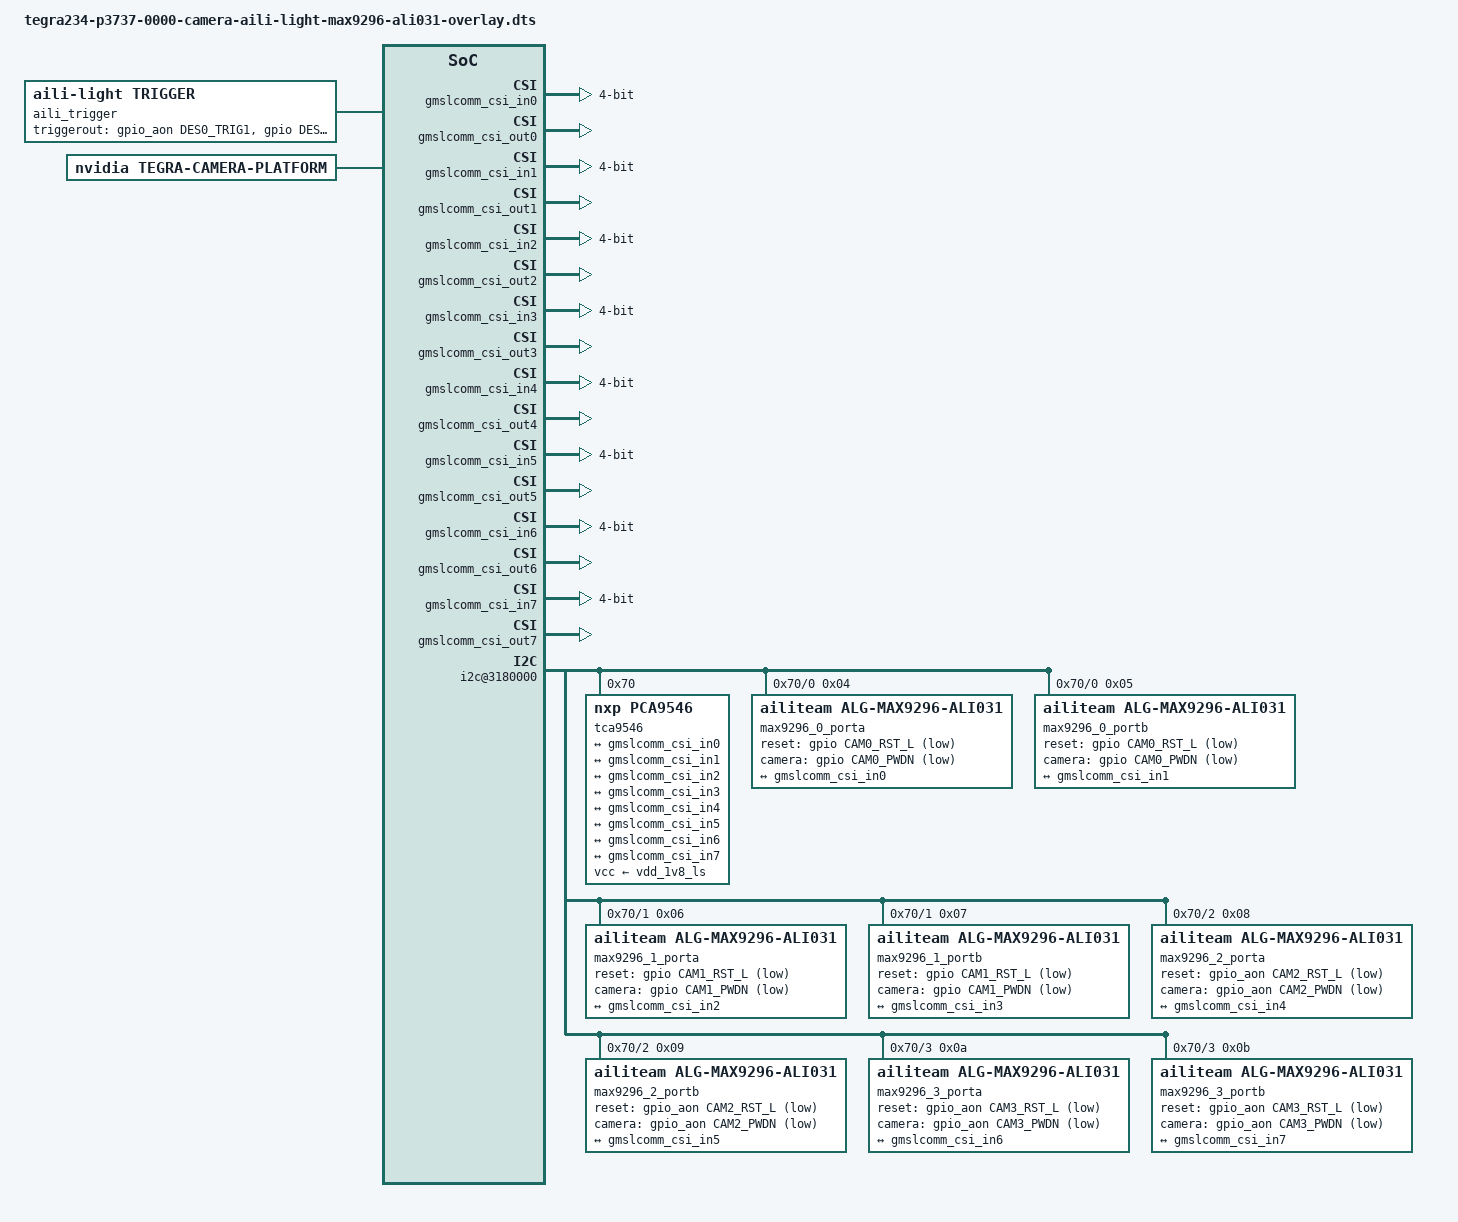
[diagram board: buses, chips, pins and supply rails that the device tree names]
// SPDX-License-Identifier: GPL-2.0-only
// SPDX-FileCopyrightText: Copyright (c) 2018-2023, NVIDIA CORPORATION & AFFILIATES. All rights reserved.

/dts-v1/;
/plugin/;


// #include <dt-bindings/clock/tegra234-clock.h>
#include <dt-bindings/gpio/tegra234-gpio.h>
#include <dt-bindings/tegra234-p3737-0000+p3701-0000.h>
#include <dt-bindings/pinctrl/pinctrl-tegra.h>

#define CAMERA_I2C_MUX_BUS(x) (0x1E + x)

#define CAM0_RST_L	TEGRA234_MAIN_GPIO(H, 3)
#define CAM0_PWDN	TEGRA234_MAIN_GPIO(H, 6)
#define CAM1_RST_L	TEGRA234_MAIN_GPIO(AC, 1)
#define CAM1_PWDN	TEGRA234_MAIN_GPIO(AC, 0)

#define CAM2_RST_L	TEGRA234_AON_GPIO(CC, 2)
#define CAM2_PWDN	TEGRA234_AON_GPIO(CC, 0)
#define CAM3_RST_L	TEGRA234_AON_GPIO(CC, 3)
#define CAM3_PWDN	TEGRA234_AON_GPIO(CC, 1)


#define TRIG_EXTERN		TEGRA234_MAIN_GPIO(AC, 7)
#define DES0_TRIG1		TEGRA234_AON_GPIO(BB, 2)
#define DES0_TRIG2		TEGRA234_MAIN_GPIO(AC, 3)
#define DES1_TRIG1		TEGRA234_AON_GPIO(AA, 7)
#define DES1_TRIG2		TEGRA234_MAIN_GPIO(H, 1)
#define DES2_TRIG1		TEGRA234_AON_GPIO(AA, 4)
#define DES2_TRIG2		TEGRA234_MAIN_GPIO(AC, 4)
#define DES3_TRIG1		TEGRA234_MAIN_GPIO(AC, 2)
#define DES3_TRIG2		TEGRA234_MAIN_GPIO(H, 5)

#define PPS_IN			TEGRA234_AON_GPIO(BB, 0)


/* camera control gpio definitions */
/ {
	overlay-name = "AGX ORIN Aili-Light MAX9296A ALI031 Device Tree Overlay V01.00.00";
	jetson-header-name = "Jetson AGX CSI Connector";
	compatible = JETSON_COMPATIBLE;
	
	fragment@0 {
		target-path = "/";
		
		__overlay__ {
			tegra-capture-vi {
				status = "okay";
				num-channels = <8>;
				ports {
					status = "okay";
					port@0 {
						reg = <0>;
						status = "okay";
						gmslcomm_vi_in0: endpoint  {
							status = "okay";
							vc-id = <1>;
							port-index = <0>;
							bus-width = <4>;
							remote-endpoint = <&gmslcomm_csi_out0>;
						};
					};
					port@1 {
						reg = <1>;
						status = "okay";
						gmslcomm_vi_in1: endpoint {
							status = "okay";
							vc-id = <0>;
							port-index = <0>;
							bus-width = <4>;
							remote-endpoint = <&gmslcomm_csi_out1>;
						};
					};
					port@2 {
						reg = <2>;
						status = "okay";
						gmslcomm_vi_in2: endpoint  {
							status = "okay";
							vc-id = <1>;
							port-index = <2>;
							bus-width = <4>;
							remote-endpoint = <&gmslcomm_csi_out2>;
						};
					};
					port@3 {
						reg = <3>;
						status = "okay";
						gmslcomm_vi_in3: endpoint {
							status = "okay";
							vc-id = <0>;
							port-index = <2>;
							bus-width = <4>;
							remote-endpoint = <&gmslcomm_csi_out3>;
						};
					};
					port@4 {
						reg = <4>;
						status = "okay";
						gmslcomm_vi_in4: endpoint  {
							status = "okay";
							vc-id = <1>;
							port-index = <4>;
							bus-width = <4>;
							remote-endpoint = <&gmslcomm_csi_out4>;
						};
					};
					port@5 {
						reg = <5>;
						status = "okay";
						gmslcomm_vi_in5: endpoint {
							status = "okay";
							vc-id = <0>;
							port-index = <4>;
							bus-width = <4>;
							remote-endpoint = <&gmslcomm_csi_out5>;
						};
					};
					port@6 {
						reg = <6>;
						status = "okay";
						gmslcomm_vi_in6: endpoint  {
							status = "okay";
							vc-id = <1>;
							port-index = <5>;
							bus-width = <4>;
							remote-endpoint = <&gmslcomm_csi_out6>;
						};
					};
					port@7 {
						reg = <7>;
						status = "okay";
						gmslcomm_vi_in7: endpoint {
							status = "okay";
							vc-id = <0>;
							port-index = <5>;
							bus-width = <4>;
							remote-endpoint = <&gmslcomm_csi_out7>;
						};
					};
				};
			};

			bus@0{

				gpio@2200000 {
					camera-control-output-low {
						output-low;
						gpios = <CAM0_RST_L 0 CAM0_PWDN 0
						CAM1_RST_L 0 CAM1_PWDN 0>;
						label = "cam0-rst", "cam0-pwdn",
						"cam1-rst", "cam1-pwdn";
					};
					trigger-extern-input{
						input;
						gpios = <TRIG_EXTERN 0 PPS_IN 0>;
						label = "trigger-extern","pps-in";
						status = "okay";
					};
					trigger-output-low {
						output-low;
						gpios = < DES0_TRIG2 0 DES1_TRIG2 0 DES2_TRIG2 0
						DES3_TRIG1 0 DES3_TRIG2 0>;
						label = "des0-trig2","des1-trig2","des2-trig2",
						"des3-trig1", "des3-trig2";
						status = "okay";
					};
				};
				gpio@c2f0000 {
					camera-control-output-low {
						output-low;
						gpios = <CAM2_RST_L 0 CAM2_PWDN 0
						CAM3_RST_L 0 CAM3_PWDN 0>;
						label = "cam2-rst", "cam2-pwdn",
						"cam3-rst", "cam3-pwdn";
					};
					trigger-output-low {
						output-low;
						gpios = <DES0_TRIG1 0 DES1_TRIG1 0  DES2_TRIG1 0>;
						label = "des0-trig1", "des1-trig1", "des2-trig1";
						status = "okay";
					};
				};

				aili_trigger: aili_trigger {
					compatible = "aili-light,trigger";

					triggerout-gpios = <&gpio_aon   DES0_TRIG1 GPIO_ACTIVE_HIGH>,
									<&gpio  		DES0_TRIG2 GPIO_ACTIVE_HIGH>,
									<&gpio_aon   	DES1_TRIG1 GPIO_ACTIVE_HIGH>,
									<&gpio  		DES1_TRIG2 GPIO_ACTIVE_HIGH>,
									<&gpio_aon   	DES2_TRIG1 GPIO_ACTIVE_HIGH>,
									<&gpio  		DES2_TRIG2 GPIO_ACTIVE_HIGH>,
									<&gpio  		DES3_TRIG1 GPIO_ACTIVE_HIGH>,
									<&gpio  		DES3_TRIG2 GPIO_ACTIVE_HIGH>;
					period-ns = <33333333>;
					pluse-width-ns = <1000000>;
					status = "okay";
				};

				host1x@13e00000 {
					nvcsi@15a00000 {
						num-channels = <8>;
						channel@0 {
							status = "okay";
							reg = <0>;
							ports {
								status = "okay";
								port@0 {
									reg = <0>;
									status = "okay";
									gmslcomm_csi_in0: endpoint@0 {
										status = "okay";
										port-index = <0>;
										bus-width = <4>;
										remote-endpoint = <&gmslcomm_des_out0>;
									};
								};
								port@1 {
									reg = <1>;
									status = "okay";
									gmslcomm_csi_out0: endpoint@1 {
										status = "okay";
										remote-endpoint = <&gmslcomm_vi_in0>;
									};
								};
							};
						};
						channel@1 {
							reg = <1>;
							status = "okay";
							ports {
								status = "okay";
								port@0 {
									reg = <0>;
									status = "okay";
									gmslcomm_csi_in1: endpoint@2 {
										status = "okay";
										port-index = <0>;
										bus-width = <4>;
										remote-endpoint = <&gmslcomm_des_out1>;
									};
								};
								port@1 {
									reg = <1>;
									status = "okay";
									gmslcomm_csi_out1: endpoint@3 {
										status = "okay";
										remote-endpoint = <&gmslcomm_vi_in1>;
									};
								};
							};
						};
						channel@2 {
							reg = <2>;
							status = "okay";
							ports {
								status = "okay";
								port@0 {
									reg = <0>;
									status = "okay";
									gmslcomm_csi_in2: endpoint@4 {
										status = "okay";
										port-index = <2>;
										bus-width = <4>;
										remote-endpoint = <&gmslcomm_des_out2>;
									};
								};
								port@1 {
									reg = <1>;
									status = "okay";
									gmslcomm_csi_out2: endpoint@5 {
										status = "okay";
										remote-endpoint = <&gmslcomm_vi_in2>;
									};
								};
							};
						};
						channel@3 {
							reg = <3>;
							status = "okay";
							ports {
								status = "okay";
								port@0 {
									reg = <0>;
									status = "okay";
									gmslcomm_csi_in3: endpoint@6 {
										status = "okay";
										port-index = <2>;
										bus-width = <4>;
										remote-endpoint = <&gmslcomm_des_out3>;
									};
								};
								port@1 {
									reg = <1>;
									status = "okay";
									gmslcomm_csi_out3: endpoint@7 {
										status = "okay";
										remote-endpoint = <&gmslcomm_vi_in3>;
									};
								};
							};
						};
						channel@4 {
							reg = <4>;
							status = "okay";
							ports {
								status = "okay";
								port@0 {
									reg = <0>;
									status = "okay";
									gmslcomm_csi_in4: endpoint@8 {
										status = "okay";
										port-index = <4>;
										bus-width = <4>;
										remote-endpoint = <&gmslcomm_des_out4>;
									};
								};
								port@1 {
									reg = <1>;
									status = "okay";
									gmslcomm_csi_out4: endpoint@9 {
										status = "okay";
										remote-endpoint = <&gmslcomm_vi_in4>;
									};
								};
							};
						};
						channel@5 {
							reg = <5>;
							status = "okay";
							ports {
								status = "okay";
								port@0 {
									reg = <0>;
									status = "okay";
									gmslcomm_csi_in5: endpoint@10 {
										status = "okay";
										port-index = <4>;
										bus-width = <4>;
										remote-endpoint = <&gmslcomm_des_out5>;
									};
								};
								port@1 {
									reg = <1>;
									status = "okay";
									gmslcomm_csi_out5: endpoint@11 {
										status = "okay";
										remote-endpoint = <&gmslcomm_vi_in5>;
									};
								};
							};
						};
						channel@6 {
							reg = <6>;
							status = "okay";
							ports {
								status = "okay";
								port@0 {
									status = "okay";
									reg = <0>;
									gmslcomm_csi_in6: endpoint@12 {
										status = "okay";
										port-index = <6>;
										bus-width = <4>;
										remote-endpoint = <&gmslcomm_des_out6>;
									};
								};
								port@1 {
									status = "okay";
									reg = <1>;
									gmslcomm_csi_out6: endpoint@13 {
										status = "okay";
										remote-endpoint = <&gmslcomm_vi_in6>;
									};
								};
							};
						};
						channel@7 {
							reg = <7>;
							status = "okay";
							ports {
								status = "okay";

								port@0 {
									reg = <0>;
									status = "okay";
									gmslcomm_csi_in7: endpoint@14 {
										status = "okay";
										port-index = <6>;
										bus-width = <4>;
										remote-endpoint = <&gmslcomm_des_out7>;
									};
								};
								port@1 {
									reg = <1>;
									status = "okay";
									gmslcomm_csi_out7: endpoint@15 {
										status = "okay";
										remote-endpoint = <&gmslcomm_vi_in7>;
									};
								};
							};
						};
					};
				};

				i2c@3180000 {
					status = "okay";
					#address-cells = <1>;
					#size-cells = <0>;
					tca9546@70 {
						status = "okay";
						compatible = "nxp,pca9546";
						reg = <0x70>;
						vcc-supply = <&vdd_1v8_ls>;
						force_bus_start = <CAMERA_I2C_MUX_BUS(0)>;
						#address-cells = <1>;
						#size-cells = <0>;
						i2c-mux-idle-disconnect;
						skip_mux_detect = "yes";
						i2c@0 {
							reg = <0>;
							i2c-mux,deselect-on-exit;
							#address-cells = <1>;
							#size-cells = <0>;
							status = "okay";
							max9296_0_porta:gmslcomm_a@4 {
								compatible = "ailiteam,alg-max9296-ali031";
								status = "okay";
								reg = <0x4>;
								addr_reg = <0x48>;// i2c地址
								reset-gpios = <&gpio CAM0_RST_L GPIO_ACTIVE_LOW>;	// 复位引脚
								camera-gpios = <&gpio CAM0_PWDN GPIO_ACTIVE_LOW>;	// 电源引脚
								deser-config;
								config-index = <4>;
								mode0 {
									mclk_khz = "24000";
									num_lanes = "4";
									tegra_sinterface = "serial_e";
									vc_id = "1";
									discontinuous_clk = "no";
									dpcm_enable = "false";
									cil_settletime = "0";
									
									dynamic_pixel_bit_depth = "12";
									csi_pixel_bit_depth = "12";
									pixel_t = "yuv_uyvy16";
									active_w = "1920";
									active_h = "1536";
									readout_orientation = "0";
									line_length = "2200";
									inherent_gain = "1";
									pix_clk_hz = "74250000";
									serdes_pix_clk_hz = "300000000"; /* lan_rate * lane_num / bpp  */
									
									gain_factor = "10";
									min_gain_val = "0"; /* dB */
									max_gain_val = "300"; /* dB */
									step_gain_val = "3"; /* 0.3 */
									default_gain = "0";
									min_hdr_ratio = "1";
									max_hdr_ratio = "1";
									framerate_factor = "1000000";
									min_framerate = "30000000";
									max_framerate = "30000000";
									step_framerate = "1";
									default_framerate = "30000000";
									exposure_factor = "1000000";
									min_exp_time = "59"; /*us, 2 lines*/
									max_exp_time = "33333";
									step_exp_time = "1";
									default_exp_time = "33333";/* us */
									embedded_metadata_height = "0";
								};
								ports {
									status = "okay";
									port@0 {
										status = "okay";
										gmslcomm_des_out0: endpoint {
											status = "okay";
											vc-id = <1>;
											port-index = <0>;
											bus-width = <4>;
											remote-endpoint = <&gmslcomm_csi_in0>;
										};
									};
								};
							};
							max9296_0_portb:gmslcomm_b@5 {
								compatible = "ailiteam,alg-max9296-ali031";
								status = "okay";
								reg = <0x5>;
								addr_reg = <0x48>;// i2c地址
								reset-gpios = <&gpio CAM0_RST_L GPIO_ACTIVE_LOW>;	// 复位引脚
								camera-gpios = <&gpio CAM0_PWDN GPIO_ACTIVE_LOW>;	// 电源引脚
								mode0 {
									mclk_khz = "24000";
									num_lanes = "4";
									tegra_sinterface = "serial_e";
									vc_id = "0";
									discontinuous_clk = "no";
									dpcm_enable = "false";
									cil_settletime = "0";
									
									dynamic_pixel_bit_depth = "12";
									csi_pixel_bit_depth = "12";
									pixel_t = "yuv_uyvy16";
									active_w = "1920";
									active_h = "1536";
									readout_orientation = "0";
									line_length = "2200";
									inherent_gain = "1";
									pix_clk_hz = "74250000";
									serdes_pix_clk_hz = "300000000"; /* lan_rate * lane_num / bpp  */
									
									gain_factor = "10";
									min_gain_val = "0"; /* dB */
									max_gain_val = "300"; /* dB */
									step_gain_val = "3"; /* 0.3 */
									default_gain = "0";
									min_hdr_ratio = "1";
									max_hdr_ratio = "1";
									framerate_factor = "1000000";
									min_framerate = "30000000";
									max_framerate = "30000000";
									step_framerate = "1";
									default_framerate = "30000000";
									exposure_factor = "1000000";
									min_exp_time = "59"; /*us, 2 lines*/
									max_exp_time = "33333";
									step_exp_time = "1";
									default_exp_time = "33333";/* us */
									embedded_metadata_height = "0";
								};
								ports {
									status = "okay";
									port@0 {
										status = "okay";
										gmslcomm_des_out1: endpoint {
											status = "okay";
											vc-id = <0>;
											port-index = <0>;
											bus-width = <4>;
											remote-endpoint = <&gmslcomm_csi_in1>;
										};
									};
								};
							};
						};
						i2c@1 {
							reg = <1>;
							i2c-mux,deselect-on-exit;
							#address-cells = <1>;
							#size-cells = <0>;
							status = "okay";
							max9296_1_porta:gmslcomm_a@6 {
								compatible = "ailiteam,alg-max9296-ali031";
								status = "okay";
								reg = <0x6>;
								addr_reg = <0x48>;// i2c地址
								reset-gpios = <&gpio CAM1_RST_L GPIO_ACTIVE_LOW>;	// 复位引脚
								camera-gpios = <&gpio CAM1_PWDN GPIO_ACTIVE_LOW>;	// 电源引脚
								deser-config;
								config-index = <3>;
								mode0 {
									mclk_khz = "24000";
									num_lanes = "4";
									tegra_sinterface = "serial_e";
									vc_id = "1";
									discontinuous_clk = "no";
									dpcm_enable = "false";
									cil_settletime = "0";
									
									dynamic_pixel_bit_depth = "12";
									csi_pixel_bit_depth = "12";
									pixel_t = "yuv_uyvy16";
									active_w = "1920";
									active_h = "1536";
									readout_orientation = "0";
									line_length = "2200";
									inherent_gain = "1";
									pix_clk_hz = "74250000";
									serdes_pix_clk_hz = "300000000"; /* lan_rate * lane_num / bpp  */
									
									gain_factor = "10";
									min_gain_val = "0"; /* dB */
									max_gain_val = "300"; /* dB */
									step_gain_val = "3"; /* 0.3 */
									default_gain = "0";
									min_hdr_ratio = "1";
									max_hdr_ratio = "1";
									framerate_factor = "1000000";
									min_framerate = "30000000";
									max_framerate = "30000000";
									step_framerate = "1";
									default_framerate = "30000000";
									exposure_factor = "1000000";
									min_exp_time = "59"; /*us, 2 lines*/
									max_exp_time = "33333";
									step_exp_time = "1";
									default_exp_time = "33333";/* us */
									embedded_metadata_height = "0";
								};
								ports {
									status = "okay";
									port@0 {
										status = "okay";
										gmslcomm_des_out2: endpoint {
											status = "okay";
											vc-id = <1>;
											port-index = <2>;
											bus-width = <4>;
											remote-endpoint = <&gmslcomm_csi_in2>;
										};
									};
								};
							};
							max9296_1_portb:gmslcomm_b@7 {
								compatible = "ailiteam,alg-max9296-ali031";
								status = "okay";
								reg = <0x7>;
								addr_reg = <0x48>;// i2c地址
								reset-gpios = <&gpio CAM1_RST_L GPIO_ACTIVE_LOW>;	// 复位引脚
								camera-gpios = <&gpio CAM1_PWDN GPIO_ACTIVE_LOW>;	// 电源引脚
								mode0 {
									mclk_khz = "24000";
									num_lanes = "4";
									tegra_sinterface = "serial_e";
									vc_id = "0";
									discontinuous_clk = "no";
									dpcm_enable = "false";
									cil_settletime = "0";
									
									dynamic_pixel_bit_depth = "12";
									csi_pixel_bit_depth = "12";
									pixel_t = "yuv_uyvy16";
									active_w = "1920";
									active_h = "1536";
									readout_orientation = "0";
									line_length = "2200";
									inherent_gain = "1";
									pix_clk_hz = "74250000";
									serdes_pix_clk_hz = "300000000"; /* lan_rate * lane_num / bpp  */
									
									gain_factor = "10";
									min_gain_val = "0"; /* dB */
									max_gain_val = "300"; /* dB */
									step_gain_val = "3"; /* 0.3 */
									default_gain = "0";
									min_hdr_ratio = "1";
									max_hdr_ratio = "1";
									framerate_factor = "1000000";
									min_framerate = "30000000";
									max_framerate = "30000000";
									step_framerate = "1";
									default_framerate = "30000000";
									exposure_factor = "1000000";
									min_exp_time = "59"; /*us, 2 lines*/
									max_exp_time = "33333";
									step_exp_time = "1";
									default_exp_time = "33333";/* us */
									embedded_metadata_height = "0";
								};
								ports {
									status = "okay";
									port@0 {
										status = "okay";
										gmslcomm_des_out3: endpoint {
											status = "okay";
											vc-id = <0>;
											port-index = <2>;
											bus-width = <4>;
											remote-endpoint = <&gmslcomm_csi_in3>;
										};
									};
								};
							};
						};
						i2c@2 {
							reg = <2>;
							i2c-mux,deselect-on-exit;
							#address-cells = <1>;
							#size-cells = <0>;
							status = "okay";
							max9296_2_porta:gmslcomm_a@8 {
								compatible = "ailiteam,alg-max9296-ali031";
								status = "okay";
								reg = <0x8>;
								addr_reg = <0x48>;// i2c地址
								reset-gpios = <&gpio_aon CAM2_RST_L GPIO_ACTIVE_LOW>;	// 复位引脚
								camera-gpios = <&gpio_aon CAM2_PWDN GPIO_ACTIVE_LOW>;	// 电源引脚
								deser-config;
								config-index = <2>;
								mode0 {
									mclk_khz = "24000";
									num_lanes = "4";
									tegra_sinterface = "serial_e";
									vc_id = "1";
									discontinuous_clk = "no";
									dpcm_enable = "false";
									cil_settletime = "0";
									
									dynamic_pixel_bit_depth = "12";
									csi_pixel_bit_depth = "12";
									pixel_t = "yuv_uyvy16";
									active_w = "1920";
									active_h = "1536";
									readout_orientation = "0";
									line_length = "2200";
									inherent_gain = "1";
									pix_clk_hz = "74250000";
									serdes_pix_clk_hz = "300000000"; /* lan_rate * lane_num / bpp  */
									
									gain_factor = "10";
									min_gain_val = "0"; /* dB */
									max_gain_val = "300"; /* dB */
									step_gain_val = "3"; /* 0.3 */
									default_gain = "0";
									min_hdr_ratio = "1";
									max_hdr_ratio = "1";
									framerate_factor = "1000000";
									min_framerate = "30000000";
									max_framerate = "30000000";
									step_framerate = "1";
									default_framerate = "30000000";
									exposure_factor = "1000000";
									min_exp_time = "59"; /*us, 2 lines*/
									max_exp_time = "33333";
									step_exp_time = "1";
									default_exp_time = "33333";/* us */
									embedded_metadata_height = "0";
								};
								ports {
									status = "okay";
									port@0 {
										status = "okay";
										gmslcomm_des_out4: endpoint {
											status = "okay";
											vc-id = <1>;
											port-index = <4>;
											bus-width = <4>;
											remote-endpoint = <&gmslcomm_csi_in4>;
										};
									};
								};
							};
							max9296_2_portb:gmslcomm_b@9 {
								compatible = "ailiteam,alg-max9296-ali031";
								status = "okay";
								reg = <0x9>;
								addr_reg = <0x48>;// i2c地址
								reset-gpios = <&gpio_aon CAM2_RST_L GPIO_ACTIVE_LOW>;	// 复位引脚
								camera-gpios = <&gpio_aon CAM2_PWDN GPIO_ACTIVE_LOW>;	// 电源引脚
								mode0 {
									mclk_khz = "24000";
									num_lanes = "4";
									tegra_sinterface = "serial_e";
									vc_id = "0";
									discontinuous_clk = "no";
									dpcm_enable = "false";
									cil_settletime = "0";
									
									dynamic_pixel_bit_depth = "12";
									csi_pixel_bit_depth = "12";
									pixel_t = "yuv_uyvy16";
									active_w = "1920";
									active_h = "1536";
									readout_orientation = "0";
									line_length = "2200";
									inherent_gain = "1";
									pix_clk_hz = "74250000";
									serdes_pix_clk_hz = "300000000"; /* lan_rate * lane_num / bpp  */
									
									gain_factor = "10";
									min_gain_val = "0"; /* dB */
									max_gain_val = "300"; /* dB */
									step_gain_val = "3"; /* 0.3 */
									default_gain = "0";
									min_hdr_ratio = "1";
									max_hdr_ratio = "1";
									framerate_factor = "1000000";
									min_framerate = "30000000";
									max_framerate = "30000000";
									step_framerate = "1";
									default_framerate = "30000000";
									exposure_factor = "1000000";
									min_exp_time = "59"; /*us, 2 lines*/
									max_exp_time = "33333";
									step_exp_time = "1";
									default_exp_time = "33333";/* us */
									embedded_metadata_height = "0";
								};
								ports {
									status = "okay";
									port@0 {
										status = "okay";
										gmslcomm_des_out5: endpoint {
											status = "okay";
											vc-id = <0>;
											port-index = <4>;
											bus-width = <4>;
											remote-endpoint = <&gmslcomm_csi_in5>;
										};
									};
								};
							};
						};
						i2c@3 {
							reg = <3>;
							i2c-mux,deselect-on-exit;
							#address-cells = <1>;
							#size-cells = <0>;
							status = "okay";
							max9296_3_porta:gmslcomm_a@10 {
								compatible = "ailiteam,alg-max9296-ali031";
								status = "okay";
								reg = <10>;
								addr_reg = <0x48>;// i2c地址
								reset-gpios = <&gpio_aon CAM3_RST_L GPIO_ACTIVE_LOW>;	// 复位引脚
								camera-gpios = <&gpio_aon CAM3_PWDN GPIO_ACTIVE_LOW>;	// 电源引脚
								deser-config;
								config-index = <1>;
								mode0 {
									mclk_khz = "24000";
									num_lanes = "4";
									tegra_sinterface = "serial_e";
									vc_id = "1";
									discontinuous_clk = "no";
									dpcm_enable = "false";
									cil_settletime = "0";
									
									dynamic_pixel_bit_depth = "12";
									csi_pixel_bit_depth = "12";
									pixel_t = "yuv_uyvy16";
									active_w = "1920";
									active_h = "1536";
									readout_orientation = "0";
									line_length = "2200";
									inherent_gain = "1";
									pix_clk_hz = "74250000";
									serdes_pix_clk_hz = "300000000"; /* lan_rate * lane_num / bpp  */
									
									gain_factor = "10";
									min_gain_val = "0"; /* dB */
									max_gain_val = "300"; /* dB */
									step_gain_val = "3"; /* 0.3 */
									default_gain = "0";
									min_hdr_ratio = "1";
									max_hdr_ratio = "1";
									framerate_factor = "1000000";
									min_framerate = "30000000";
									max_framerate = "30000000";
									step_framerate = "1";
									default_framerate = "30000000";
									exposure_factor = "1000000";
									min_exp_time = "59"; /*us, 2 lines*/
									max_exp_time = "33333";
									step_exp_time = "1";
									default_exp_time = "33333";/* us */
									embedded_metadata_height = "0";
								};
								ports {
									status = "okay";
									port@0 {
										status = "okay";
										gmslcomm_des_out6: endpoint {
											status = "okay";
											vc-id = <1>;
											port-index = <6>;
											bus-width = <4>;
											remote-endpoint = <&gmslcomm_csi_in6>;
										};
									};
								};
							};
							max9296_3_portb:gmslcomm_b@11 {
								compatible = "ailiteam,alg-max9296-ali031";
								status = "okay";
								reg = <11>;
								addr_reg = <0x48>;// i2c地址
								reset-gpios = <&gpio_aon CAM3_RST_L GPIO_ACTIVE_LOW>;	// 复位引脚
								camera-gpios = <&gpio_aon CAM3_PWDN GPIO_ACTIVE_LOW>;	// 电源引脚
								mode0 {
									mclk_khz = "24000";
									num_lanes = "4";
									tegra_sinterface = "serial_e";
									vc_id = "0";
									discontinuous_clk = "no";
									dpcm_enable = "false";
									cil_settletime = "0";
									
									dynamic_pixel_bit_depth = "12";
									csi_pixel_bit_depth = "12";
									pixel_t = "yuv_uyvy16";
									active_w = "1920";
									active_h = "1536";
									readout_orientation = "0";
									line_length = "2200";
									inherent_gain = "1";
									pix_clk_hz = "74250000";
									serdes_pix_clk_hz = "300000000"; /* lan_rate * lane_num / bpp  */
									
									gain_factor = "10";
									min_gain_val = "0"; /* dB */
									max_gain_val = "300"; /* dB */
									step_gain_val = "3"; /* 0.3 */
									default_gain = "0";
									min_hdr_ratio = "1";
									max_hdr_ratio = "1";
									framerate_factor = "1000000";
									min_framerate = "30000000";
									max_framerate = "30000000";
									step_framerate = "1";
									default_framerate = "30000000";
									exposure_factor = "1000000";
									min_exp_time = "59"; /*us, 2 lines*/
									max_exp_time = "33333";
									step_exp_time = "1";
									default_exp_time = "33333";/* us */
									embedded_metadata_height = "0";
								};
								ports {
									status = "okay";
									port@0 {
										status = "okay";
										gmslcomm_des_out7: endpoint {
											status = "okay";
											vc-id = <0>;
											port-index = <6>;
											bus-width = <4>;
											remote-endpoint = <&gmslcomm_csi_in7>;
										};
									};
								};
							};
						};
					};
				};
			};

			tegra-camera-platform {
				compatible = "nvidia, tegra-camera-platform";
				num_csi_lanes = <16>;
				max_lane_speed = <2500000>;
				min_bits_per_pixel = <10>;
				vi_peak_byte_per_pixel = <2>;
				vi_bw_margin_pct = <25>;
				isp_peak_byte_per_pixel = <5>;
				isp_bw_margin_pct = <25>;
				modules {
					status = "okay";
					module0 {
						badge = "max9296_bottomleft";
						position = "bottomleft";
						orientation = "1";
						status = "okay";
						drivernode0 {
							status = "okay";
							/* Declare PCL support driver (classically known as guid) */
							pcl_id = "v4l2_sensor";
							/* Declare the device-tree hierarchy to driver instance */
							sysfs-device-tree = "/sys/firmware/devicetree/base/bus@0/i2c@3180000/tca9546@70/i2c@0/gmslcomm_a@4";
						};
					};
					module1 {
						status = "okay";
						badge = "max9296_bottomright";
						position = "bottomright";
						orientation = "1";
						drivernode0 {
							status = "okay";
							/* Declare PCL support driver (classically known as guid)  */
							pcl_id = "v4l2_sensor";
							/* Declare the device-tree hierarchy to driver instance */
							sysfs-device-tree = "/sys/firmware/devicetree/base/bus@0/i2c@3180000/tca9546@70/i2c@0/gmslcomm_b@5";
						};
					};
					module2 {
						badge = "max9296_centerleft";
						position = "centerleft";
						orientation = "1";
						status = "okay";
						drivernode0 {
							status = "okay";
							/* Declare PCL support driver (classically known as guid) */
							pcl_id = "v4l2_sensor";
							/* Declare the device-tree hierarchy to driver instance */
							sysfs-device-tree = "/sys/firmware/devicetree/base/bus@0/i2c@3180000/tca9546@70/i2c@1/gmslcomm_a@6";
						};
					};
					module3 {
						status = "okay";
						badge = "max9296_centerright";
						position = "centerright";
						orientation = "1";
						drivernode0 {
							status = "okay";
							/* Declare PCL support driver (classically known as guid)  */
							pcl_id = "v4l2_sensor";
							/* Declare the device-tree hierarchy to driver instance */
							sysfs-device-tree = "/sys/firmware/devicetree/base/bus@0/i2c@3180000/tca9546@70/i2c@1/gmslcomm_b@7";
						};
					};
					module4 {
						badge = "max9296_topleft";
						position = "topleft";
						orientation = "1";
						status = "okay";
						drivernode0 {
							status = "okay";
							/* Declare PCL support driver (classically known as guid) */
							pcl_id = "v4l2_sensor";
							/* Declare the device-tree hierarchy to driver instance */
							sysfs-device-tree = "/sys/firmware/devicetree/base/bus@0/i2c@3180000/tca9543@73/i2c@2/gmslcomm_a@8";
						};
					};
					module5 {
						status = "okay";
						badge = "max9296_topright";
						position = "topright";
						orientation = "1";
						drivernode0 {
							status = "okay";
							/* Declare PCL support driver (classically known as guid)  */
							pcl_id = "v4l2_sensor";
							/* Declare the device-tree hierarchy to driver instance */
							sysfs-device-tree = "/sys/firmware/devicetree/base/bus@0/i2c@3180000/tca9543@73/i2c@2/gmslcomm_b@9";
						};
					};
					module6 {
						badge = "max9296_rear";
						position = "rear";
						orientation = "1";
						status = "okay";
						drivernode0 {
							status = "okay";
							/* Declare PCL support driver (classically known as guid) */
							pcl_id = "v4l2_sensor";
							/* Declare the device-tree hierarchy to driver instance */
							sysfs-device-tree = "/sys/firmware/devicetree/base/bus@0/i2c@3180000/tca9543@73/i2c@3/gmslcomm_a@10";
						};
					};
					module7 {
						status = "okay";
						badge = "max9296_front";
						position = "front";
						orientation = "1";
						drivernode0 {
							status = "okay";
							/* Declare PCL support driver (classically known as guid)  */
							pcl_id = "v4l2_sensor";
							/* Declare the device-tree hierarchy to driver instance */
							sysfs-device-tree = "/sys/firmware/devicetree/base/bus@0/i2c@3180000/tca9543@73/i2c@3/gmslcomm_b@11";
						};
					};
				};
			};

		};
	};

};
